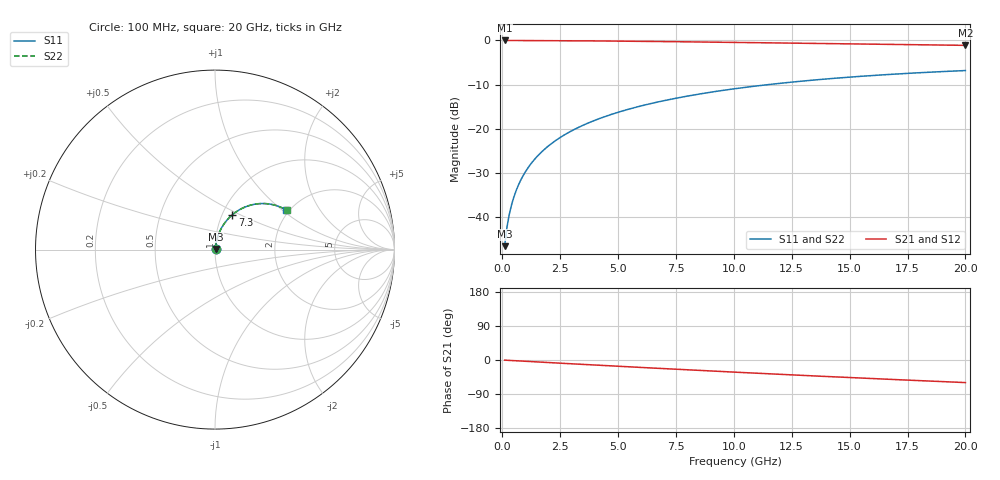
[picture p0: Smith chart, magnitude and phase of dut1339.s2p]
! Touchstone file exported from HFSS 2026.1.0
!  File:  C:/ffzhzh/LocalFiles/Ansys_Project_Files/temp_train_BSMRDL_1339_1783178838_51560.aedt
!  Generated:  11:28:46 PM Jul  4, 2026
!  Design:  BSMRDL
!  Project:  temp_train_BSMRDL_1339_1783178838_51560
! Variables:
!  h_bsmrdl = 5.11um
!  h_ox = 20um
!  h_rdl = 5um
!  h_sub = 80um
!  h_tmrdl = 5um
!  h_tsv = 80um
!  h_via = 3um
!  l_bsmrdl = 958.6um
!  l_sub = 1358.6um
!  l_tmrdl = 200um
!  m_sub = 200um
!  pitch = 49.26um
!  r_tsv = 6um
!  s_tmrdl = 10um
!  w_bsmrdl = 22.95um
!  w_sub = 500um
!  w_tmrdl = 12um
!  x_tsv_center1 = 206um
!  x_tsv_center2 = 1187.55um
!  x_tsv_center3 = 1399.55um
!  x_tsv_center4 = 2381.1um
!  x_tsv_center5 = 2593.1um
!  x_tsv_center6 = 3574.65um
# GHz S MA R 50.000000
! Terminal data exported
! Port[1] = BSM_RDL1_1_T1
! Port[2] = BSM_RDL1_1_T2
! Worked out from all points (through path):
!   200 points, 100 MHz to 20 GHz, reference 50 ohm
!   highest |S21| = -0.03 dB at 100 MHz (marker M1); lowest = -1.1 dB at 20 GHz (marker M2)
!   group delay of S21, straight-line fit = 8.27 ps
!   lowest |S11| = -46.6 dB at 100 MHz (marker M3), VSWR 1.01, Z = 50.3 + j0.353 ohm
!   |S11| at or under -10 dB: start of sweep to 11.52 GHz
!   |S22| runs from -46.6 to -6.8 dB; largest |S21 - S12| = 3.6e-14
!   S11 on the Smith chart (normalised r, x): 100 MHz: 1.01, +0.01; 7.3 GHz: 1.12, +0.45; 20 GHz: 1.93, +1.07
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0.1  0.004684 48.4  0.9969 -0.4  0.9969 -0.4  0.004684 48.4
! Gamma 0 0 0 0
! Port Impedance 50 0 50 0
0.2  0.007623 63.5  0.9967 -0.7  0.9967 -0.7  0.007623 63.5
0.3  0.01068 69.8  0.9965 -1.0  0.9965 -1.0  0.01068 69.8
0.4  0.01375 73.3  0.9963 -1.4  0.9963 -1.4  0.01375 73.3
0.5  0.01686 75.5  0.9961 -1.7  0.9961 -1.7  0.01686 75.5
0.7  0.02312 78.0  0.9959 -2.4  0.9959 -2.4  0.02312 78.0
1  0.03259 79.4  0.9954 -3.4  0.9954 -3.4  0.03259 79.4
1.2  0.03891 79.7  0.995 -4.1  0.995 -4.1  0.03891 79.7
1.4  0.04522 79.7  0.9946 -4.7  0.9946 -4.7  0.04522 79.7
1.7  0.05465 79.4  0.9939 -5.7  0.9939 -5.7  0.05465 79.4
2  0.06403 78.9  0.993 -6.7  0.993 -6.7  0.06403 78.9
2.7  0.08563 77.2  0.9907 -9.0  0.9907 -9.0  0.08563 77.2
3.5  0.1098 74.9  0.9874 -11.7  0.9874 -11.7  0.1098 74.9
4.2  0.1304 72.8  0.9842 -13.9  0.9842 -13.9  0.1304 72.8
5  0.1534 70.5  0.9801 -16.5  0.9801 -16.5  0.1534 70.5
6.8  0.2028 65.1  0.9696 -22.2  0.9696 -22.2  0.2028 65.1
7.3  0.216 63.6  0.9665 -23.7  0.9665 -23.7  0.216 63.6
8.6  0.249 59.8  0.9579 -27.7  0.9579 -27.7  0.249 59.8
10.1  0.2848 55.5  0.9473 -32.3  0.9473 -32.3  0.2848 55.5
13.4  0.3544 46.2  0.9228 -41.8  0.9228 -41.8  0.3544 46.2
16.7  0.411 37.4  0.8989 -50.9  0.8989 -50.9  0.411 37.4
20  0.4551 28.9  0.8775 -59.6  0.8775 -59.6  0.455 28.9
